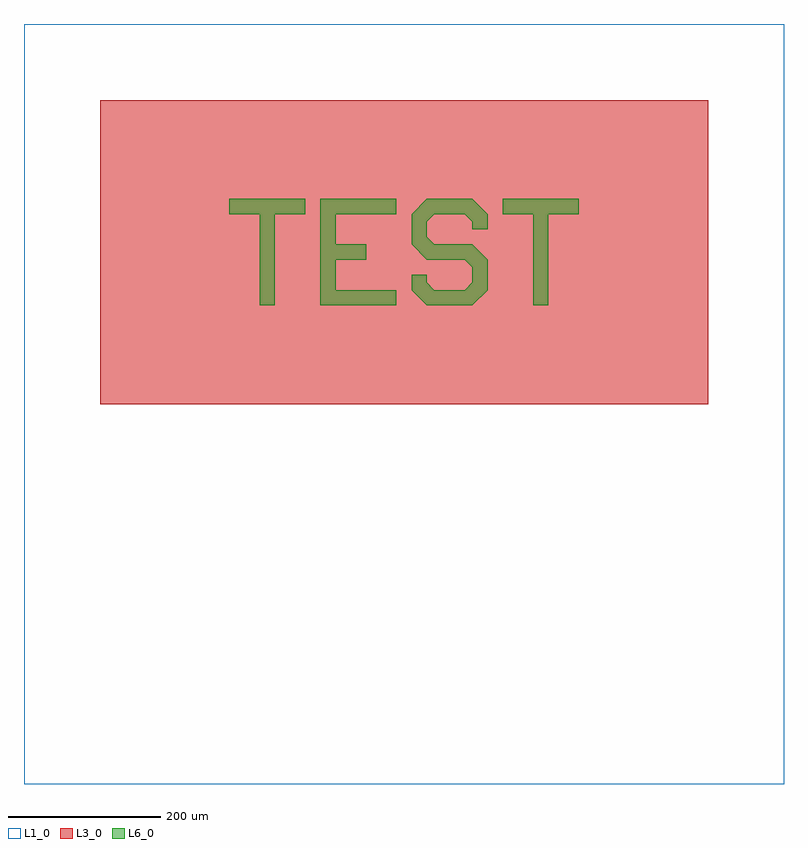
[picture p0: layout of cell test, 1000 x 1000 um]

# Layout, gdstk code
import gdstk
lib = gdstk.Library(unit=1e-6, precision=1e-09)
def R(c, l, rs):  # rectangles x0, y0, x1, y1
    for r in rs: c.add(gdstk.rectangle(r[:2], r[2:], *l))
def P(c, l, *ps):  # polygons
    for p in ps: c.add(gdstk.Polygon(p, *l))
L1_0 = (1, 0)
L3_0 = (3, 0)
L6_0 = (6, 0)

test = lib.new_cell('test')
R(test, L1_0, [(-500,-500,500,500)])
R(test, L3_0, [(-400,0,400,400)])
P(test, L6_0, [(-190,130),(-190,250),(-230,250),(-230,270),(-130,270),(-130,250),(-170,250),(-170,130)],
  [(-110,130),(-110,270),(-10,270),(-10,250),(-90,250),(-90,210),(-50,210),(-50,190),(-90,190),(-90,150),(-10,150),(-10,130)],
  [(30,130),(10,150),(10,170),(30,170),(30,160),(40,150),(80,150),(90,160),(90,180),(80,190),(30,190),(10,210),(10,250),(30,270),(90,270),(110,250),(110,230),(90,230),(90,240),(80,250),(40,250),(30,240),(30,220),(40,210),(90,210),(110,190),(110,150),(90,130)],
  [(170,130),(170,250),(130,250),(130,270),(230,270),(230,250),(190,250),(190,130)])

lib.write_gds('test.gds')
